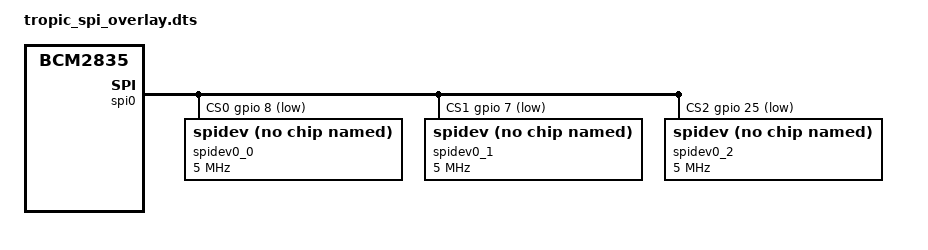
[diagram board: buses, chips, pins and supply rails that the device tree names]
/dts-v1/;
/plugin/;
/ {
    compatible = "brcm,bcm2835";
    fragment@0 {
        target = <&spi0_cs_pins>;
        frag0: __overlay__ {
            brcm,pins = <8 7 25>;
        };
    };
    fragment@1 {
        target = <&spi0>;
        frag1: __overlay__ {
            #address-cells = <1>;
            #size-cells = <0>;
            cs-gpios = <&gpio 8 1>, <&gpio 7 1>, <&gpio 25 1>;
            status = "okay";
            spidev0_0: spidev@0 {
                compatible = "spidev";
                reg = <0>;
                #address-cells = <1>;
                #size-cells = <0>;
                spi-max-frequency = <5000000>;
                spi-cs-setup-delay-ns = <25>; // should all be 20
				spi-cs-hold-delay-ns = <25>;
				spi-cs-inactive-delay-ns = <25000000>;
            };
            spidev0_1: spidev@1 {
                compatible = "spidev";
                reg = <1>;
                #address-cells = <1>;
                #size-cells = <0>;
                spi-max-frequency = <5000000>;
                spi-cs-setup-delay-ns = <25>; // should all be 20
				spi-cs-hold-delay-ns = <25>;
				spi-cs-inactive-delay-ns = <25000000>;
            };
            spidev0_2: spidev@2 {
                compatible = "spidev";
                reg = <2>;
                #address-cells = <1>;
                #size-cells = <0>;
                spi-max-frequency = <5000000>;
                spi-cs-setup-delay-ns = <25>; // should all be 20
				spi-cs-hold-delay-ns = <25>;
				spi-cs-inactive-delay-ns = <25000000>;
            };
        };
    };
};
